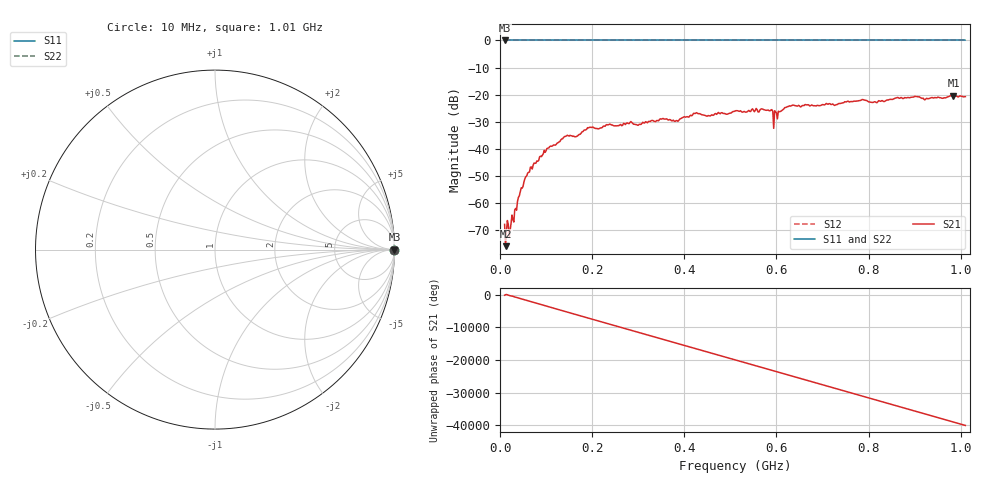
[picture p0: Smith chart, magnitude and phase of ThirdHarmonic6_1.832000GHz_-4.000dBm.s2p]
! 8/16/2025 10:11:05 PM
! C:\ANRITSUVNA\TEMP\TEMP.S2P
! CHANNEL.1
! TR.MEASUREMENT
! RAW.DATA
! RF.CORRECTION.OFF
! AVERAGING.OFF
! IF.BANDWIDTH: 5KHZ
! SWEEPTYPE:  FREQ.SWEEP(Linear)
! Reference Plane Port Info
! PORT:  PORT1  PORT2
! DISTANCE:  0  m  0  m
! TIME:  0  s  0  s
! PHASE.OFFSET:  0  deg.  0  deg.
! LOSS:  0  dB  0  dB
! REF.LOSS:  0  dB  0  dB
! REF.FREQ:  0  Hz  0  Hz
! Power Info
! POWER:  -20  dBm  -20  dBm
! EFF.POWER:  -20  dBm  -20  dBm
! SOURCE.ATTEN:  0  dB  0  dB
! TEST.ATTEN:  0  dB  0  dB
# GHZ S RI R 50.0
! FREQ.GHZ  S11RE  S11IM  S21RE  S21IM  S12RE  S12IM  S22RE  S22IM
!; PortSelection: Port_12
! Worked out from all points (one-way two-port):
!   501 points, 10 MHz to 1.01 GHz, reference 50 ohm
!   highest |S21| = -20.43 dB at 984 MHz (marker M1); lowest = -76.0 dB at 12 MHz (marker M2)
!   lowest |S11| = 0.0 dB at 10 MHz (marker M3)
!   |S11| at or under -10 dB: nowhere
!   |S22| runs from 0.0 to 0.0 dB; largest |S21 - S12| = 1.1
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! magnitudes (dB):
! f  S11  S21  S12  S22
! 10 MHz  0.0  -67.9  0.0  0.0
! 12 MHz  0.0  -76.0  0.0  0.0
! 16 MHz  0.0  -66.5  0.0  0.0
! 24 MHz  0.0  -67.6  0.0  0.0
! 44 MHz  0.0  -55.8  0.0  0.0
! 70 MHz  0.0  -47.5  0.0  0.0
! 106 MHz  0.0  -39.7  0.0  0.0
! 142 MHz  0.0  -35.4  0.0  0.0
! 178 MHz  0.0  -33.8  0.0  0.0
! 194 MHz  0.0  -32.1  0.0  0.0
! 344 MHz  0.0  -29.7  0.0  0.0
! 382 MHz  0.0  -29.6  0.0  0.0
! 424 MHz  0.0  -27.0  0.0  0.0
! 452 MHz  0.0  -27.7  0.0  0.0
! 510 MHz  0.0  -26.1  0.0  0.0
! 586 MHz  0.0  -26.0  0.0  0.0
! 598 MHz  0.0  -26.3  0.0  0.0
! 628 MHz  0.0  -24.1  0.0  0.0
! 678 MHz  0.0  -23.9  0.0  0.0
! 844 MHz  0.0  -21.9  0.0  0.0
! 984 MHz  0.0  -20.4  0.0  0.0
! 1.01 GHz  0.0  -20.7  0.0  0.0
